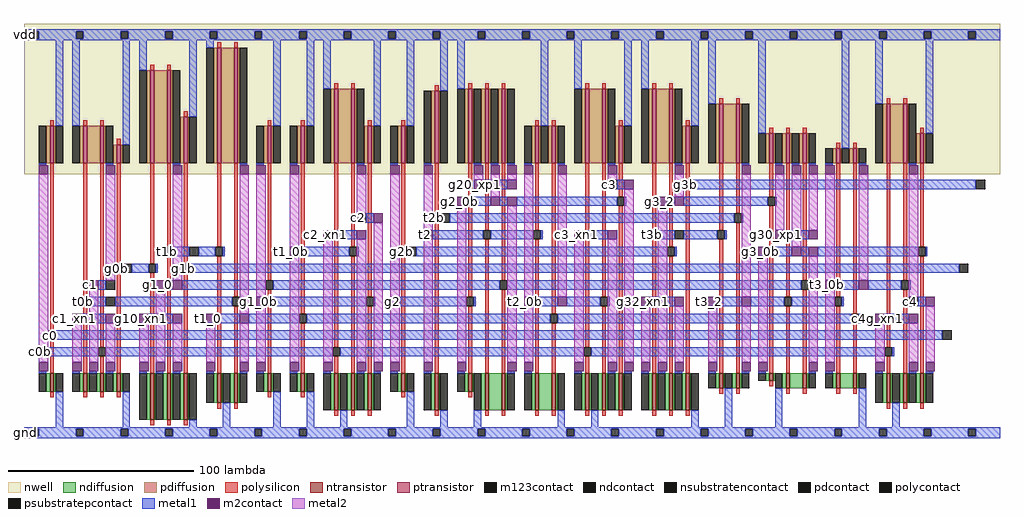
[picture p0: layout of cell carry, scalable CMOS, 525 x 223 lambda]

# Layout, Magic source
magic
tech scmos
<< nwell >>
rect 0 142 525 223
<< ntransistor >>
rect 14 25 16 35
rect 32 25 34 35
rect 41 25 43 35
rect 50 25 52 35
rect 68 10 70 35
rect 77 10 79 35
rect 86 10 88 35
rect 104 19 106 35
rect 113 19 115 35
rect 131 25 133 35
rect 149 25 151 35
rect 167 15 169 35
rect 176 15 178 35
rect 185 15 187 35
rect 203 25 205 35
rect 221 15 223 35
rect 239 25 241 35
rect 248 15 250 35
rect 257 15 259 35
rect 275 15 277 35
rect 284 15 286 35
rect 302 15 304 35
rect 311 15 313 35
rect 320 15 322 35
rect 338 15 340 35
rect 347 15 349 35
rect 356 15 358 35
rect 374 27 376 35
rect 383 27 385 35
rect 401 31 403 35
rect 410 27 412 35
rect 419 27 421 35
rect 437 27 439 35
rect 446 27 448 35
rect 464 19 466 35
rect 473 19 475 35
rect 482 19 484 35
<< ptransistor >>
rect 14 148 16 168
rect 32 148 34 168
rect 41 148 43 168
rect 50 148 52 158
rect 68 148 70 198
rect 77 148 79 198
rect 86 148 88 173
rect 104 148 106 210
rect 113 148 115 210
rect 131 148 133 168
rect 149 148 151 168
rect 167 148 169 188
rect 176 148 178 188
rect 185 148 187 168
rect 203 148 205 168
rect 221 148 223 187
rect 239 148 241 188
rect 248 148 250 188
rect 257 148 259 188
rect 275 148 277 168
rect 284 148 286 168
rect 302 148 304 188
rect 311 148 313 188
rect 320 148 322 168
rect 338 148 340 188
rect 347 148 349 188
rect 356 148 358 168
rect 374 148 376 180
rect 383 148 385 180
rect 401 148 403 164
rect 410 148 412 164
rect 419 148 421 164
rect 437 148 439 156
rect 446 148 448 156
rect 464 148 466 180
rect 473 148 475 180
rect 482 148 484 164
<< ndiffusion >>
rect 12 25 14 35
rect 16 25 17 35
rect 30 25 32 35
rect 34 25 35 35
rect 39 25 41 35
rect 43 25 44 35
rect 48 25 50 35
rect 52 25 53 35
rect 66 10 68 35
rect 70 10 71 35
rect 75 10 77 35
rect 79 10 80 35
rect 84 10 86 35
rect 88 10 89 35
rect 102 19 104 35
rect 106 19 107 35
rect 111 19 113 35
rect 115 19 116 35
rect 129 25 131 35
rect 133 25 134 35
rect 147 25 149 35
rect 151 25 152 35
rect 165 15 167 35
rect 169 15 170 35
rect 174 15 176 35
rect 178 15 179 35
rect 183 15 185 35
rect 187 15 188 35
rect 201 25 203 35
rect 205 25 206 35
rect 219 15 221 35
rect 223 15 224 35
rect 237 25 239 35
rect 241 25 242 35
rect 246 15 248 35
rect 250 15 257 35
rect 259 15 260 35
rect 273 15 275 35
rect 277 15 284 35
rect 286 15 287 35
rect 300 15 302 35
rect 304 15 305 35
rect 309 15 311 35
rect 313 15 314 35
rect 318 15 320 35
rect 322 15 323 35
rect 336 15 338 35
rect 340 15 341 35
rect 345 15 347 35
rect 349 15 350 35
rect 354 15 356 35
rect 358 15 359 35
rect 372 27 374 35
rect 376 27 377 35
rect 381 27 383 35
rect 385 27 386 35
rect 399 31 401 35
rect 403 31 404 35
rect 408 27 410 35
rect 412 27 419 35
rect 421 27 422 35
rect 435 27 437 35
rect 439 27 446 35
rect 448 27 449 35
rect 462 19 464 35
rect 466 19 467 35
rect 471 19 473 35
rect 475 19 476 35
rect 480 19 482 35
rect 484 19 485 35
<< pdiffusion >>
rect 12 148 14 168
rect 16 148 17 168
rect 30 148 32 168
rect 34 148 41 168
rect 43 148 44 168
rect 48 148 50 158
rect 52 148 53 158
rect 66 148 68 198
rect 70 148 77 198
rect 79 148 80 198
rect 84 148 86 173
rect 88 148 89 173
rect 102 148 104 210
rect 106 148 113 210
rect 115 148 116 210
rect 129 148 131 168
rect 133 148 134 168
rect 147 148 149 168
rect 151 148 152 168
rect 165 148 167 188
rect 169 148 176 188
rect 178 148 179 188
rect 183 148 185 168
rect 187 148 188 168
rect 201 148 203 168
rect 205 148 206 168
rect 219 148 221 187
rect 223 148 224 187
rect 237 148 239 188
rect 241 148 242 188
rect 246 148 248 188
rect 250 148 251 188
rect 255 148 257 188
rect 259 148 260 188
rect 273 148 275 168
rect 277 148 278 168
rect 282 148 284 168
rect 286 148 287 168
rect 300 148 302 188
rect 304 148 311 188
rect 313 148 314 188
rect 318 148 320 168
rect 322 148 323 168
rect 336 148 338 188
rect 340 148 347 188
rect 349 148 350 188
rect 354 148 356 168
rect 358 148 359 168
rect 372 148 374 180
rect 376 148 383 180
rect 385 148 386 180
rect 399 148 401 164
rect 403 148 404 164
rect 408 148 410 164
rect 412 148 413 164
rect 417 148 419 164
rect 421 148 422 164
rect 435 148 437 156
rect 439 148 440 156
rect 444 148 446 156
rect 448 148 449 156
rect 462 148 464 180
rect 466 148 473 180
rect 475 148 476 180
rect 480 148 482 164
rect 484 148 485 164
<< ndcontact >>
rect 8 25 12 35
rect 17 25 21 35
rect 26 25 30 35
rect 35 25 39 35
rect 44 25 48 35
rect 53 25 57 35
rect 62 10 66 35
rect 71 10 75 35
rect 80 10 84 35
rect 89 10 93 35
rect 98 19 102 35
rect 107 19 111 35
rect 116 19 120 35
rect 125 25 129 35
rect 134 25 138 35
rect 143 25 147 35
rect 152 25 156 35
rect 161 15 165 35
rect 170 15 174 35
rect 179 15 183 35
rect 188 15 192 35
rect 197 25 201 35
rect 206 25 210 35
rect 215 15 219 35
rect 224 15 228 35
rect 233 25 237 35
rect 242 15 246 35
rect 260 15 264 35
rect 269 15 273 35
rect 287 15 291 35
rect 296 15 300 35
rect 305 15 309 35
rect 314 15 318 35
rect 323 15 327 35
rect 332 15 336 35
rect 341 15 345 35
rect 350 15 354 35
rect 359 15 363 35
rect 368 27 372 35
rect 377 27 381 35
rect 386 27 390 35
rect 395 31 399 35
rect 404 27 408 35
rect 422 27 426 35
rect 431 27 435 35
rect 449 27 453 35
rect 458 19 462 35
rect 467 19 471 35
rect 476 19 480 35
rect 485 19 489 35
<< pdcontact >>
rect 8 148 12 168
rect 17 148 21 168
rect 26 148 30 168
rect 44 148 48 168
rect 53 148 57 158
rect 62 148 66 198
rect 80 148 84 198
rect 89 148 93 173
rect 98 148 102 210
rect 116 148 120 210
rect 125 148 129 168
rect 134 148 138 168
rect 143 148 147 168
rect 152 148 156 168
rect 161 148 165 188
rect 179 148 183 188
rect 188 148 192 168
rect 197 148 201 168
rect 206 148 210 168
rect 215 148 219 187
rect 224 148 228 187
rect 233 148 237 188
rect 242 148 246 188
rect 251 148 255 188
rect 260 148 264 188
rect 269 148 273 168
rect 278 148 282 168
rect 287 148 291 168
rect 296 148 300 188
rect 314 148 318 188
rect 323 148 327 168
rect 332 148 336 188
rect 350 148 354 188
rect 359 148 363 168
rect 368 148 372 180
rect 386 148 390 180
rect 395 148 399 164
rect 404 148 408 164
rect 413 148 417 164
rect 422 148 426 164
rect 431 148 435 156
rect 440 148 444 156
rect 449 148 453 156
rect 458 148 462 180
rect 476 148 480 180
rect 485 148 489 164
<< psubstratepcontact >>
rect 4 1 8 5
rect 28 1 32 5
rect 52 1 56 5
rect 76 1 80 5
rect 100 1 104 5
rect 124 1 128 5
rect 148 1 152 5
rect 172 1 176 5
rect 196 1 200 5
rect 220 1 224 5
rect 244 1 248 5
rect 268 1 272 5
rect 292 1 296 5
rect 316 1 320 5
rect 340 1 344 5
rect 364 1 368 5
rect 388 1 392 5
rect 412 1 416 5
rect 436 1 440 5
rect 460 1 464 5
rect 484 1 488 5
rect 508 1 512 5
<< nsubstratencontact >>
rect 4 215 8 219
rect 28 215 32 219
rect 52 215 56 219
rect 76 215 80 219
rect 100 215 104 219
rect 124 215 128 219
rect 148 215 152 219
rect 172 215 176 219
rect 196 215 200 219
rect 220 215 224 219
rect 244 215 248 219
rect 268 215 272 219
rect 292 215 296 219
rect 316 215 320 219
rect 340 215 344 219
rect 364 215 368 219
rect 388 215 392 219
rect 412 215 416 219
rect 436 215 440 219
rect 460 215 464 219
rect 484 215 488 219
rect 508 215 512 219
<< polysilicon >>
rect 104 210 106 213
rect 113 210 115 213
rect 68 198 70 201
rect 77 198 79 201
rect 14 168 16 171
rect 32 168 34 171
rect 41 168 43 171
rect 50 158 52 161
rect 86 173 88 176
rect 167 188 169 191
rect 176 188 178 191
rect 131 168 133 171
rect 149 168 151 171
rect 221 187 223 190
rect 239 188 241 191
rect 248 188 250 191
rect 257 188 259 191
rect 302 188 304 191
rect 311 188 313 191
rect 338 188 340 191
rect 347 188 349 191
rect 185 168 187 171
rect 203 168 205 171
rect 275 168 277 171
rect 284 168 286 171
rect 320 168 322 171
rect 374 180 376 183
rect 383 180 385 183
rect 464 180 466 183
rect 473 180 475 183
rect 356 168 358 171
rect 401 164 403 167
rect 410 164 412 167
rect 419 164 421 167
rect 437 156 439 159
rect 446 156 448 159
rect 482 164 484 167
rect 14 58 16 148
rect 32 76 34 148
rect 14 35 16 53
rect 32 35 34 71
rect 41 49 43 148
rect 50 94 52 148
rect 68 94 70 148
rect 77 103 79 148
rect 41 35 43 44
rect 50 35 52 89
rect 68 35 70 89
rect 77 35 79 98
rect 86 94 88 148
rect 104 103 106 148
rect 86 35 88 89
rect 104 35 106 98
rect 113 76 115 148
rect 131 85 133 148
rect 113 35 115 71
rect 131 35 133 80
rect 149 67 151 148
rect 149 35 151 62
rect 167 49 169 148
rect 176 103 178 148
rect 167 35 169 44
rect 176 35 178 98
rect 185 76 187 148
rect 203 103 205 148
rect 221 121 223 148
rect 185 35 187 71
rect 203 35 205 98
rect 221 35 223 116
rect 239 76 241 148
rect 248 112 250 148
rect 239 35 241 71
rect 248 35 250 107
rect 257 85 259 148
rect 275 112 277 148
rect 257 35 259 80
rect 275 35 277 107
rect 284 67 286 148
rect 284 35 286 62
rect 302 49 304 148
rect 311 76 313 148
rect 320 130 322 148
rect 302 35 304 44
rect 311 35 313 71
rect 320 35 322 125
rect 338 112 340 148
rect 338 35 340 107
rect 347 103 349 148
rect 356 139 358 148
rect 347 35 349 98
rect 356 35 358 134
rect 374 112 376 148
rect 383 121 385 148
rect 401 130 403 148
rect 374 35 376 107
rect 383 35 385 116
rect 401 35 403 125
rect 410 76 412 148
rect 419 85 421 148
rect 410 35 412 71
rect 419 35 421 80
rect 437 76 439 148
rect 437 35 439 71
rect 446 67 448 148
rect 446 35 448 62
rect 464 49 466 148
rect 473 85 475 148
rect 482 103 484 148
rect 464 35 466 44
rect 473 35 475 80
rect 482 35 484 98
rect 14 22 16 25
rect 32 22 34 25
rect 41 22 43 25
rect 50 22 52 25
rect 131 22 133 25
rect 149 22 151 25
rect 104 16 106 19
rect 113 16 115 19
rect 203 22 205 25
rect 239 22 241 25
rect 401 28 403 31
rect 374 24 376 27
rect 383 24 385 27
rect 410 24 412 27
rect 419 24 421 27
rect 437 24 439 27
rect 446 24 448 27
rect 464 16 466 19
rect 473 16 475 19
rect 482 16 484 19
rect 167 12 169 15
rect 176 12 178 15
rect 185 12 187 15
rect 221 12 223 15
rect 248 12 250 15
rect 257 12 259 15
rect 275 12 277 15
rect 284 12 286 15
rect 302 12 304 15
rect 311 12 313 15
rect 320 12 322 15
rect 338 12 340 15
rect 347 12 349 15
rect 356 12 358 15
rect 68 7 70 10
rect 77 7 79 10
rect 86 7 88 10
<< polycontact >>
rect 31 71 35 76
rect 13 53 17 58
rect 76 98 80 103
rect 49 89 53 94
rect 67 89 71 94
rect 40 44 44 49
rect 103 98 107 103
rect 85 89 89 94
rect 130 80 134 85
rect 112 71 116 76
rect 148 62 152 67
rect 175 98 179 103
rect 166 44 170 49
rect 220 116 224 121
rect 202 98 206 103
rect 184 71 188 76
rect 247 107 251 112
rect 238 71 242 76
rect 274 107 278 112
rect 256 80 260 85
rect 283 62 287 67
rect 319 125 323 130
rect 310 71 314 76
rect 301 44 305 49
rect 337 107 341 112
rect 355 134 359 139
rect 346 98 350 103
rect 400 125 404 130
rect 382 116 386 121
rect 373 107 377 112
rect 418 80 422 85
rect 409 71 413 76
rect 436 71 440 76
rect 445 62 449 67
rect 481 98 485 103
rect 472 80 476 85
rect 463 44 467 49
<< metal1 >>
rect 0 219 525 220
rect 0 215 4 219
rect 8 215 28 219
rect 32 215 52 219
rect 56 215 76 219
rect 80 215 100 219
rect 104 215 124 219
rect 128 215 148 219
rect 152 215 172 219
rect 176 215 196 219
rect 200 215 220 219
rect 224 215 244 219
rect 248 215 268 219
rect 272 215 292 219
rect 296 215 316 219
rect 320 215 340 219
rect 344 215 364 219
rect 368 215 388 219
rect 392 215 412 219
rect 416 215 436 219
rect 440 215 460 219
rect 464 215 484 219
rect 488 215 508 219
rect 512 215 525 219
rect 0 214 525 215
rect 17 168 21 214
rect 26 168 30 214
rect 53 158 57 214
rect 62 198 66 214
rect 89 173 93 214
rect 98 210 102 214
rect 134 168 138 214
rect 152 168 156 214
rect 8 147 12 148
rect 44 147 48 148
rect 80 147 84 148
rect 116 147 120 148
rect 161 188 165 214
rect 188 168 192 214
rect 206 168 210 214
rect 224 187 228 214
rect 233 188 237 214
rect 125 147 129 148
rect 143 147 147 148
rect 179 147 183 148
rect 197 147 201 148
rect 215 147 219 148
rect 242 147 246 148
rect 251 147 255 148
rect 278 168 282 214
rect 296 188 300 214
rect 260 147 264 148
rect 323 168 327 214
rect 332 188 336 214
rect 359 168 363 214
rect 368 180 372 214
rect 395 164 399 214
rect 269 147 273 148
rect 287 147 291 148
rect 314 147 318 148
rect 350 147 354 148
rect 386 147 390 148
rect 404 147 408 148
rect 413 147 417 148
rect 440 156 444 214
rect 458 180 462 214
rect 422 147 426 148
rect 485 164 489 214
rect 431 147 435 148
rect 449 147 453 148
rect 476 147 480 148
rect 247 134 260 139
rect 319 134 323 139
rect 359 134 512 139
rect 238 125 251 130
rect 256 125 260 130
rect 265 125 319 130
rect 323 125 324 130
rect 346 125 350 130
rect 355 125 400 130
rect 404 125 405 130
rect 184 116 188 121
rect 229 116 382 121
rect 386 116 387 121
rect 166 107 179 112
rect 220 107 247 112
rect 251 107 274 112
rect 278 107 279 112
rect 301 107 314 112
rect 341 107 350 112
rect 355 107 373 112
rect 377 107 378 112
rect 409 107 422 112
rect 80 98 89 103
rect 94 98 103 103
rect 107 98 108 103
rect 148 98 175 103
rect 179 98 180 103
rect 211 98 346 103
rect 350 98 351 103
rect 400 98 413 103
rect 418 98 422 103
rect 427 98 481 103
rect 485 98 486 103
rect 58 89 67 94
rect 71 89 72 94
rect 89 89 503 94
rect 40 80 44 85
rect 76 80 80 85
rect 85 80 130 85
rect 134 80 256 85
rect 260 80 418 85
rect 422 80 423 85
rect 436 80 449 85
rect 454 80 472 85
rect 476 80 477 85
rect 35 71 44 76
rect 49 71 112 76
rect 116 71 117 76
rect 130 71 184 76
rect 188 71 189 76
rect 202 71 238 76
rect 242 71 243 76
rect 274 71 287 76
rect 292 71 310 76
rect 314 71 315 76
rect 337 71 350 76
rect 373 71 386 76
rect 391 71 409 76
rect 413 71 436 76
rect 440 71 441 76
rect 481 71 485 76
rect 31 62 44 67
rect 67 62 80 67
rect 103 62 116 67
rect 121 62 148 67
rect 152 62 283 67
rect 287 62 445 67
rect 449 62 450 67
rect 463 62 476 67
rect 17 53 494 58
rect 13 44 40 49
rect 44 44 166 49
rect 170 44 301 49
rect 305 44 463 49
rect 467 44 468 49
rect 8 35 12 36
rect 26 35 30 36
rect 35 35 39 36
rect 44 35 48 36
rect 62 35 66 36
rect 17 6 21 25
rect 53 6 57 25
rect 71 35 75 36
rect 80 35 84 36
rect 98 35 102 36
rect 116 35 120 36
rect 125 35 129 36
rect 143 35 147 36
rect 161 35 165 36
rect 179 35 183 36
rect 89 6 93 10
rect 107 6 111 19
rect 134 6 138 25
rect 152 6 156 25
rect 188 35 192 36
rect 197 35 201 36
rect 215 35 219 36
rect 233 35 237 36
rect 260 35 264 36
rect 170 6 174 15
rect 206 6 210 25
rect 224 6 228 15
rect 269 35 273 36
rect 296 35 300 36
rect 314 35 318 36
rect 323 35 327 36
rect 332 35 336 36
rect 341 35 345 36
rect 350 35 354 36
rect 368 35 372 36
rect 386 35 390 36
rect 395 35 399 36
rect 422 35 426 36
rect 431 35 435 36
rect 458 35 462 36
rect 476 35 480 36
rect 242 6 246 15
rect 287 6 291 15
rect 305 6 309 15
rect 359 6 363 15
rect 377 6 381 27
rect 404 6 408 27
rect 449 6 453 27
rect 485 35 489 36
rect 467 6 471 19
rect 0 5 525 6
rect 0 1 4 5
rect 8 1 28 5
rect 32 1 52 5
rect 56 1 76 5
rect 80 1 100 5
rect 104 1 124 5
rect 128 1 148 5
rect 152 1 172 5
rect 176 1 196 5
rect 200 1 220 5
rect 224 1 244 5
rect 248 1 268 5
rect 272 1 292 5
rect 296 1 316 5
rect 320 1 340 5
rect 344 1 364 5
rect 368 1 388 5
rect 392 1 412 5
rect 416 1 436 5
rect 440 1 460 5
rect 464 1 484 5
rect 488 1 508 5
rect 512 1 525 5
rect 0 0 525 1
<< m2contact >>
rect 8 142 13 147
rect 44 142 49 147
rect 80 142 85 147
rect 116 142 121 147
rect 125 142 130 147
rect 143 142 148 147
rect 179 142 184 147
rect 197 142 202 147
rect 215 142 220 147
rect 242 142 247 147
rect 251 142 256 147
rect 260 142 265 147
rect 269 142 274 147
rect 287 142 292 147
rect 314 142 319 147
rect 350 142 355 147
rect 386 142 391 147
rect 404 142 409 147
rect 413 142 418 147
rect 422 142 427 147
rect 431 142 436 147
rect 449 142 454 147
rect 476 142 481 147
rect 242 134 247 139
rect 260 134 265 139
rect 323 134 328 139
rect 233 125 238 130
rect 251 125 256 130
rect 260 125 265 130
rect 341 125 346 130
rect 350 125 355 130
rect 188 116 193 121
rect 161 107 166 112
rect 179 107 184 112
rect 215 107 220 112
rect 296 107 301 112
rect 314 107 319 112
rect 404 107 409 112
rect 422 107 427 112
rect 143 98 148 103
rect 395 98 400 103
rect 413 98 418 103
rect 422 98 427 103
rect 35 80 40 85
rect 71 80 76 85
rect 80 80 85 85
rect 431 80 436 85
rect 449 80 454 85
rect 125 71 130 76
rect 197 71 202 76
rect 269 71 274 76
rect 287 71 292 76
rect 332 71 337 76
rect 350 71 355 76
rect 368 71 373 76
rect 386 71 391 76
rect 485 71 490 76
rect 26 62 31 67
rect 44 62 49 67
rect 62 62 67 67
rect 80 62 85 67
rect 98 62 103 67
rect 116 62 121 67
rect 458 62 463 67
rect 476 62 481 67
rect 8 44 13 49
rect 8 36 13 41
rect 26 36 31 41
rect 35 36 40 41
rect 44 36 49 41
rect 62 36 67 41
rect 71 36 76 41
rect 80 36 85 41
rect 98 36 103 41
rect 116 36 121 41
rect 125 36 130 41
rect 143 36 148 41
rect 161 36 166 41
rect 179 36 184 41
rect 188 36 193 41
rect 197 36 202 41
rect 215 36 220 41
rect 233 36 238 41
rect 260 36 265 41
rect 269 36 274 41
rect 296 36 301 41
rect 314 36 319 41
rect 323 36 328 41
rect 332 36 337 41
rect 341 36 346 41
rect 350 36 355 41
rect 368 36 373 41
rect 386 36 391 41
rect 395 36 400 41
rect 422 36 427 41
rect 431 36 436 41
rect 458 36 463 41
rect 476 36 481 41
rect 485 36 490 41
<< metal2 >>
rect 8 49 13 142
rect 44 85 49 142
rect 80 85 85 142
rect 8 41 13 44
rect 26 41 31 62
rect 35 41 40 80
rect 44 41 49 62
rect 62 41 67 62
rect 71 41 76 80
rect 116 67 121 142
rect 80 41 85 62
rect 98 41 103 62
rect 116 41 121 62
rect 125 76 130 142
rect 125 41 130 71
rect 143 103 148 142
rect 179 121 184 142
rect 143 41 148 98
rect 161 41 166 107
rect 179 41 184 107
rect 188 41 193 116
rect 197 76 202 142
rect 215 112 220 142
rect 242 139 247 142
rect 251 130 256 142
rect 260 139 265 142
rect 197 41 202 71
rect 215 41 220 107
rect 233 41 238 125
rect 260 41 265 125
rect 269 76 274 142
rect 287 76 292 142
rect 314 139 319 142
rect 269 41 274 71
rect 296 41 301 107
rect 314 41 319 107
rect 323 41 328 134
rect 350 130 355 142
rect 332 41 337 71
rect 341 41 346 125
rect 386 76 391 142
rect 404 112 409 142
rect 413 103 418 142
rect 422 112 427 142
rect 350 41 355 71
rect 368 41 373 71
rect 386 41 391 71
rect 395 41 400 98
rect 422 41 427 98
rect 431 85 436 142
rect 449 85 454 142
rect 431 41 436 80
rect 476 76 481 142
rect 458 41 463 62
rect 476 41 481 62
rect 485 41 490 71
<< m123contact >>
rect 53 89 58 94
rect 89 98 94 103
rect 44 80 49 85
rect 44 71 49 76
rect 179 116 184 121
rect 224 116 229 121
rect 206 98 211 103
rect 314 134 319 139
rect 350 107 355 112
rect 512 134 517 139
rect 503 89 508 94
rect 476 71 481 76
rect 494 53 499 58
<< labels >>
rlabel metal1 13 53 15 58 0 c0
port 1 nsew
rlabel m2contact 35 80 37 85 0 c1
port 2 nsew
rlabel metal1 179 116 181 121 0 c2
port 3 nsew
rlabel metal1 314 134 316 139 0 c3
port 4 nsew
rlabel metal1 476 71 478 76 0 c4
port 5 nsew
rlabel metal1 49 89 51 94 0 g0b
port 6 nsew
rlabel metal1 85 89 87 94 0 g1b
port 7 nsew
rlabel metal1 202 98 204 103 0 g2b
port 8 nsew
rlabel metal1 355 134 357 139 0 g3b
port 9 nsew
rlabel metal1 31 71 33 76 0 t0b
port 10 nsew
rlabel metal1 76 98 78 103 0 t1b
port 11 nsew
rlabel metal1 220 116 222 121 0 t2b
port 12 nsew
rlabel metal1 337 107 339 112 0 t3b
port 13 nsew
rlabel m2contact 8 44 10 49 0 c0b
rlabel m2contact 26 62 28 67 0 c1_xn1
rlabel m2contact 161 107 163 112 0 c2_xn1
rlabel m2contact 296 107 298 112 0 c3_xn1
rlabel m2contact 458 62 460 67 0 c4g_xn1
rlabel m2contact 62 62 64 67 0 g10_xn1
rlabel m2contact 71 80 73 85 0 g1_0
rlabel m2contact 125 71 127 76 0 g1_0b
rlabel m2contact 197 71 199 76 0 g2
rlabel m2contact 242 134 244 139 0 g20_xp1
rlabel m2contact 233 125 235 130 0 g2_0b
rlabel m2contact 404 107 406 112 0 g30_xp1
rlabel m2contact 332 71 334 76 0 g32_xn1
rlabel m2contact 395 98 397 103 0 g3_0b
rlabel m2contact 341 125 343 130 0 g3_2
rlabel m2contact 98 62 100 67 0 t1_0
rlabel m2contact 143 98 145 103 0 t1_0b
rlabel m2contact 215 107 217 112 0 t2
rlabel m2contact 269 71 271 76 0 t2_0b
rlabel m2contact 431 80 433 85 0 t3_0b
rlabel m2contact 368 71 370 76 0 t3_2
rlabel metal1 0 214 2 220 0 vdd
port 14 nsew
rlabel metal1 0 0 2 6 0 gnd
port 15 nsew
<< end >>
